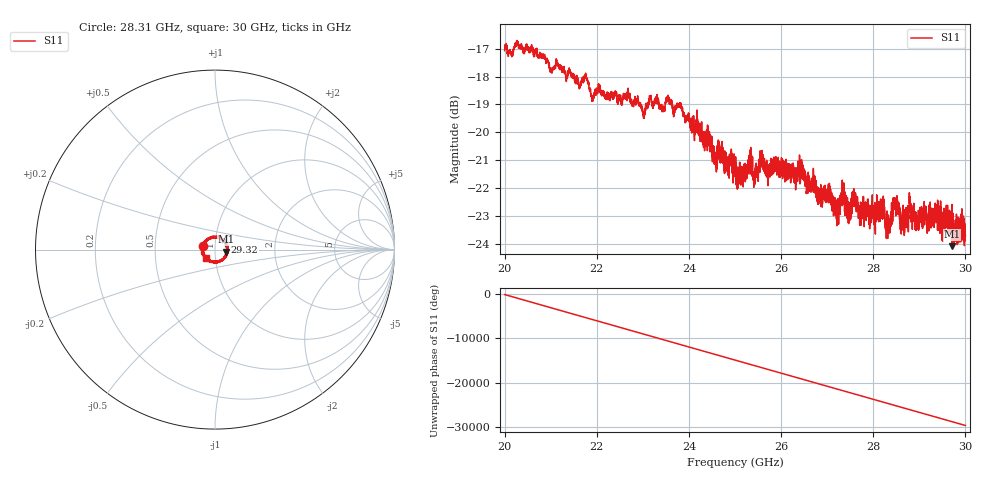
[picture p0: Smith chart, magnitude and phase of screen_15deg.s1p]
#  HZ  S  RI  R  50.00
! Rohde & Schwarz ZVA40 4Ports - Version 3.90 - 1145.1110k42 SN: 100403
! Date: 2023-09-28 09:34:03
! Measurement: S12
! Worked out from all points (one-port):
!   5001 points, 20 GHz to 30 GHz, reference 50 ohm
!   lowest |S11| = -24.1 dB at 29.71 GHz (marker M1), VSWR 1.13, Z = 56.5 - j1.29 ohm
!   |S11| at or under -10 dB: start of sweep to end of sweep
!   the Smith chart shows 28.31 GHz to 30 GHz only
!   S11 on the Smith chart (normalised r, x): 28.31 GHz: 0.88, +0.04; 29.32 GHz: 1.11, +0.10; 30 GHz: 0.90, -0.08
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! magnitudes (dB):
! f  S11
! 20 GHz  -17.1
! 21.25 GHz  -17.8
! 21.76 GHz  -18.0
! 21.91 GHz  -18.8
! 22.5 GHz  -18.7
! 23.02 GHz  -19.5
! 23.15 GHz  -18.7
! 23.75 GHz  -19.0
! 25 GHz  -21.1
! 25.33 GHz  -20.6
! 25.43 GHz  -21.4
! 25.57 GHz  -20.7
! 26.25 GHz  -21.4
! 27.03 GHz  -21.9
! 27.18 GHz  -22.4
! 27.33 GHz  -22.6
! 27.5 GHz  -22.9
! 27.59 GHz  -22.7
! 27.72 GHz  -23.3
! 28.19 GHz  -22.8
! 28.31 GHz  -23.4
! 28.47 GHz  -22.7
! 28.63 GHz  -23.1
! 28.75 GHz  -23.0
! 29.32 GHz  -23.1
! 29.71 GHz  -24.1
! 30 GHz  -23.4
! 30 GHz  -23.7
